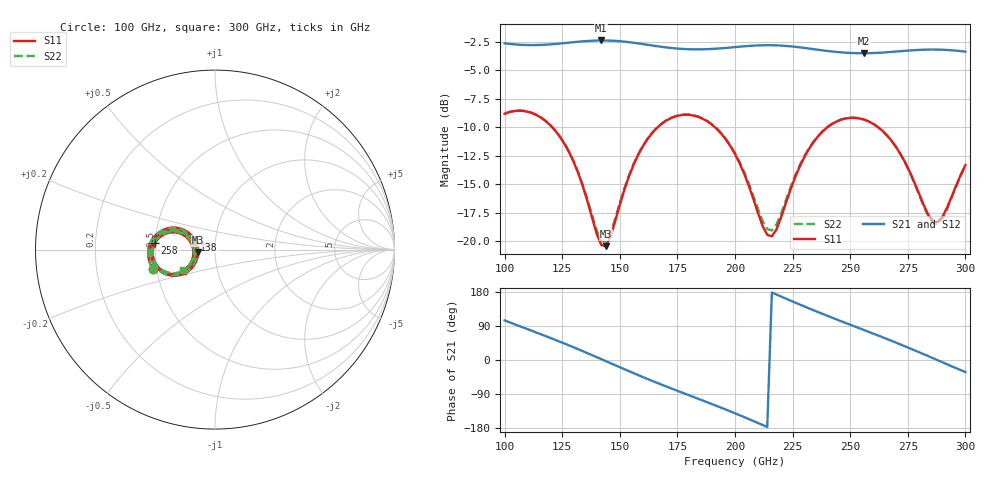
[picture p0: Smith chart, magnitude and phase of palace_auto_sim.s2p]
#  GHZ S DB R 50
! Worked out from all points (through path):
!   101 points, 100 GHz to 300 GHz, reference 50 ohm
!   highest |S21| = -2.39 dB at 142 GHz (marker M1); lowest = -3.5 dB at 256 GHz (marker M2)
!   group delay of S21, straight-line fit = 6.9 ps
!   lowest |S11| = -20.4 dB at 144 GHz (marker M3), VSWR 1.21, Z = 41.4 - j1.3 ohm
!   |S11| at or under -10 dB: 120.6 GHz to 166.5 GHz (45.88 GHz wide, 32 % of centre); 191.2 GHz to 240.2 GHz (48.91 GHz wide, 22.7 % of centre); 262.1 GHz to end of sweep
!   |S22| runs from -20.1 to -8.5 dB; largest |S21 - S12| = 8.3e-14
!   S11 on the Smith chart (normalised r, x): 100 GHz: 0.48, -0.12; 138 GHz: 0.79, +0.09; 258 GHz: 0.50, +0.04; 300 GHz: 0.68, -0.17
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100  -8.83 -163.1  -2.64 104.5  -2.64 104.5  -8.81 -162.9
118  -9.49 164.8  -2.76 62.6  -2.76 62.6  -9.47 165.3
134  -15.22 147.3  -2.46 23.2  -2.46 23.2  -15.11 148.4
138  -17.97 153.4  -2.41 12.7  -2.41 12.7  -17.76 154.6
142  -20.35 174.3  -2.39 2.2  -2.39 2.2  -19.99 174.8
144  -20.44 -170.6  -2.39 -3.2  -2.39 -3.2  -20.08 -170.9
156  -13.28 -141.9  -2.59 -34.8  -2.59 -34.8  -13.22 -142.6
168  -9.73 -158.0  -2.94 -64.7  -2.94 -64.7  -9.70 -158.2
184  -9.09 175.1  -3.17 -102.3  -3.17 -102.3  -9.06 175.3
200  -12.36 152.4  -2.97 -140.7  -2.97 -140.7  -12.27 153.2
208  -16.31 152.6  -2.84 -161.0  -2.84 -161.0  -16.06 153.8
216  -19.57 -172.5  -2.81 178.0  -2.81 178.0  -19.05 -173.4
224  -15.53 -144.7  -2.90 157.0  -2.90 157.0  -15.34 -146.9
234  -11.34 -149.8  -3.15 131.5  -3.15 131.5  -11.28 -151.3
244  -9.51 -164.2  -3.40 107.3  -3.40 107.3  -9.49 -165.5
256  -9.33 176.8  -3.51 79.1  -3.51 79.1  -9.33 175.7
258  -9.49 173.8  -3.50 74.4  -3.50 74.4  -9.49 172.7
268  -11.20 160.2  -3.39 50.4  -3.39 50.4  -11.22 159.1
278  -14.91 156.1  -3.24 25.4  -3.24 25.4  -14.98 154.9
286  -18.26 178.2  -3.19 4.6  -3.19 4.6  -18.42 177.3
290  -17.88 -162.9  -3.20 -5.9  -3.20 -5.9  -18.03 -163.2
300  -13.32 -147.0  -3.37 -31.8  -3.37 -31.8  -13.37 -147.2
